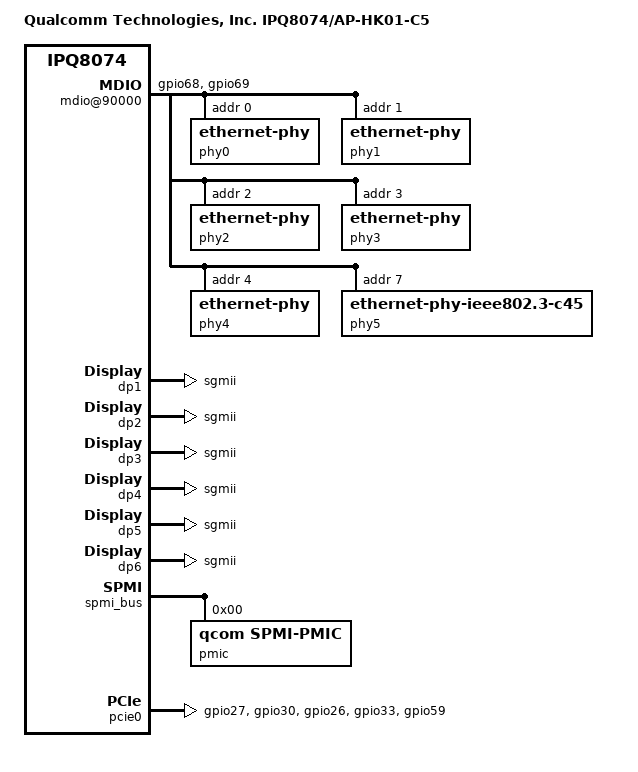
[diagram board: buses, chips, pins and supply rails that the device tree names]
// SPDX-License-Identifier: GPL-2.0-only
/dts-v1/;
/* Copyright (c) 2020 The Linux Foundation. All rights reserved.
 */
#include "ipq8074-hk01.dtsi"
#include <dt-bindings/pinctrl/qcom,pmic-gpio.h>

/ {
	model = "Qualcomm Technologies, Inc. IPQ8074/AP-HK01-C5";
	compatible = "qcom,ipq8074-ap-hk01-c5", "qcom,ipq8074-ap-hk01", "qcom,ipq8074";

	soc {

		pinctrl@1000000 {
			mdio_pins: mdio_pinmux {
				mux_0 {
					pins = "gpio68";
					function = "mdc";
					drive-strength = <8>;
					bias-pull-up;
				};
				mux_1 {
					pins = "gpio69";
					function = "mdio";
					drive-strength = <8>;
					bias-pull-up;
				};
			};

			pcie_sdx_pins: pcie_sdx_pinmux {
				ap2mdm_err_ftl {
					pins = "gpio27";
					function = "gpio";
					drive-strength = <8>;
					bias-pull-down;
				};

				sdx_pon_gpio {
					pins = "gpio30";
					function = "gpio";
					drive-strength = <8>;
					bias-pull-up;
					output-high;
				};

				ap2mdm_status {
					pins = "gpio26";
					function = "gpio";
					drive-strength = <8>;
					bias-pull-up;
					output-high;
				};

				mdm2ap_e911_status {
					pins = "gpio33";
					drive-strength = <8>;
					bias-pull-down;
				};
			};

			pcie_wake_pins: pcie0_wake_gpio {
				pins = "gpio59";
				function = "pcie0_wake";
				drive-strength = <8>;
				bias-pull-up;
			};
		};

		gpio_keys {
			status = "disabled";
		};

		i2c@78b6000 {
			 status = "disabled";
		};

		mdio@90000 {
			pinctrl-0 = <&mdio_pins>;
			pinctrl-names = "default";
			phy-reset-gpio = <&tlmm 37 0>;
			phy0: ethernet-phy@0 {
				reg = <0>;
			};
			phy1: ethernet-phy@1 {
				reg = <1>;
			};
			phy2: ethernet-phy@2 {
				reg = <2>;
			};
			phy3: ethernet-phy@3 {
				reg = <3>;
			};
			phy4: ethernet-phy@4 {
				reg = <4>;
			};
			phy5: ethernet-phy@5 {
				compatible ="ethernet-phy-ieee802.3-c45";
				reg = <7>;
			};
		};

		dp1 {
			device_type = "network";
			compatible = "qcom,nss-dp";
			qcom,id = <1>;
			reg = <0x3a001000 0x200>;
			qcom,mactype = <0>;
			local-mac-address = [000000000000];
			qcom,link-poll = <1>;
			qcom,phy-mdio-addr = <0>;
			phy-mode = "sgmii";
		};

		dp2 {
			device_type = "network";
			compatible = "qcom,nss-dp";
			qcom,id = <2>;
			reg = <0x3a001200 0x200>;
			qcom,mactype = <0>;
			local-mac-address = [000000000000];
			qcom,link-poll = <1>;
			qcom,phy-mdio-addr = <1>;
			phy-mode = "sgmii";
		};

		dp3 {
			device_type = "network";
			compatible = "qcom,nss-dp";
			qcom,id = <3>;
			reg = <0x3a001400 0x200>;
			qcom,mactype = <0>;
			local-mac-address = [000000000000];
			qcom,link-poll = <1>;
			qcom,phy-mdio-addr = <2>;
			phy-mode = "sgmii";
		};

		dp4 {
			device_type = "network";
			compatible = "qcom,nss-dp";
			qcom,id = <4>;
			reg = <0x3a001600 0x200>;
			qcom,mactype = <0>;
			local-mac-address = [000000000000];
			qcom,link-poll = <1>;
			qcom,phy-mdio-addr = <3>;
			phy-mode = "sgmii";
		};

		dp5 {
			device_type = "network";
			compatible = "qcom,nss-dp";
			qcom,id = <5>;
			reg = <0x3a001800 0x200>;
			qcom,mactype = <0>;
			local-mac-address = [000000000000];
			qcom,link-poll = <1>;
			qcom,phy-mdio-addr = <4>;
			phy-mode = "sgmii";
		};

		dp6 {
			device_type = "network";
			compatible = "qcom,nss-dp";
			qcom,id = <6>;
			reg = <0x3a007000 0x3fff>;
			qcom,mactype = <1>;
			local-mac-address = [000000000000];
			qcom,link-poll = <1>;
			qcom,phy-mdio-addr = <7>;
			phy-mode = "sgmii";
		};

		ess-switch@3a000000 {
			switch_cpu_bmp = <0x1>;  /* cpu port bitmap */
			switch_lan_bmp = <0x3e>; /* lan port bitmap */
			switch_wan_bmp = <0x40>; /* wan port bitmap */
			switch_mac_mode = <0x0>; /* mac mode for uniphy instance0*/
			switch_mac_mode1 = <0xff>; /* mac mode for uniphy instance1*/
			switch_mac_mode2 = <0xd>; /* mac mode for uniphy instance2*/
			bm_tick_mode = <0>; /* bm tick mode */
			tm_tick_mode = <0>; /* tm tick mode */
			port_scheduler_resource {
				port@0 {
					port_id = <0>;
					ucast_queue = <0 143>;
					mcast_queue = <256 271>;
					l0sp = <0 35>;
					l0cdrr = <0 47>;
					l0edrr = <0 47>;
					l1cdrr = <0 7>;
					l1edrr = <0 7>;
				};
				port@1 {
					port_id = <1>;
					ucast_queue = <144 159>;
					mcast_queue = <272 275>;
					l0sp = <36 39>;
					l0cdrr = <48 63>;
					l0edrr = <48 63>;
					l1cdrr = <8 11>;
					l1edrr = <8 11>;
				};
				port@2 {
					port_id = <2>;
					ucast_queue = <160 175>;
					mcast_queue = <276 279>;
					l0sp = <40 43>;
					l0cdrr = <64 79>;
					l0edrr = <64 79>;
					l1cdrr = <12 15>;
					l1edrr = <12 15>;
				};
				port@3 {
					port_id = <3>;
					ucast_queue = <176 191>;
					mcast_queue = <280 283>;
					l0sp = <44 47>;
					l0cdrr = <80 95>;
					l0edrr = <80 95>;
					l1cdrr = <16 19>;
					l1edrr = <16 19>;
				};
				port@4 {
					port_id = <4>;
					ucast_queue = <192 207>;
					mcast_queue = <284 287>;
					l0sp = <48 51>;
					l0cdrr = <96 111>;
					l0edrr = <96 111>;
					l1cdrr = <20 23>;
					l1edrr = <20 23>;
				};
				port@5 {
					port_id = <5>;
					ucast_queue = <208 223>;
					mcast_queue = <288 291>;
					l0sp = <52 55>;
					l0cdrr = <112 127>;
					l0edrr = <112 127>;
					l1cdrr = <24 27>;
					l1edrr = <24 27>;
				};
				port@6 {
					port_id = <6>;
					ucast_queue = <224 239>;
					mcast_queue = <292 295>;
					l0sp = <56 59>;
					l0cdrr = <128 143>;
					l0edrr = <128 143>;
					l1cdrr = <28 31>;
					l1edrr = <28 31>;
				};
				port@7 {
					port_id = <7>;
					ucast_queue = <240 255>;
					mcast_queue = <296 299>;
					l0sp = <60 63>;
					l0cdrr = <144 159>;
					l0edrr = <144 159>;
					l1cdrr = <32 35>;
					l1edrr = <32 35>;
				};
			};
			port_scheduler_config {
				port@0 {
					port_id = <0>;
					l1scheduler {
						group@0 {
							sp = <0 1>; /*L0 SPs*/
							/*cpri cdrr epri edrr*/
							cfg = <0 0 0 0>;
						};
					};
					l0scheduler {
						group@0 {
							/*unicast queues*/
							ucast_queue = <0 4 8>;
							/*multicast queues*/
							mcast_queue = <256 260>;
							/*sp cpri cdrr epri edrr*/
							cfg = <0 0 0 0 0>;
						};
						group@1 {
							ucast_queue = <1 5 9>;
							mcast_queue = <257 261>;
							cfg = <0 1 1 1 1>;
						};
						group@2 {
							ucast_queue = <2 6 10>;
							mcast_queue = <258 262>;
							cfg = <0 2 2 2 2>;
						};
						group@3 {
							ucast_queue = <3 7 11>;
							mcast_queue = <259 263>;
							cfg = <0 3 3 3 3>;
						};
					};
				};
				port@1 {
					port_id = <1>;
					l1scheduler {
						group@0 {
							sp = <36>;
							cfg = <0 8 0 8>;
						};
						group@1 {
							sp = <37>;
							cfg = <1 9 1 9>;
						};
					};
					l0scheduler {
						group@0 {
							ucast_queue = <144>;
							ucast_loop_pri = <16>;
							mcast_queue = <272>;
							mcast_loop_pri = <4>;
							cfg = <36 0 48 0 48>;
						};
					};
				};
				port@2 {
					port_id = <2>;
					l1scheduler {
						group@0 {
							sp = <40>;
							cfg = <0 12 0 12>;
						};
						group@1 {
							sp = <41>;
							cfg = <1 13 1 13>;
						};
					};
					l0scheduler {
						group@0 {
							ucast_queue = <160>;
							ucast_loop_pri = <16>;
							mcast_queue = <276>;
							mcast_loop_pri = <4>;
							cfg = <40 0 64 0 64>;
						};
					};
				};
				port@3 {
					port_id = <3>;
					l1scheduler {
						group@0 {
							sp = <44>;
							cfg = <0 16 0 16>;
						};
						group@1 {
							sp = <45>;
							cfg = <1 17 1 17>;
						};
					};
					l0scheduler {
						group@0 {
							ucast_queue = <176>;
							ucast_loop_pri = <16>;
							mcast_queue = <280>;
							mcast_loop_pri = <4>;
							cfg = <44 0 80 0 80>;
						};
					};
				};
				port@4 {
					port_id = <4>;
					l1scheduler {
						group@0 {
							sp = <48>;
							cfg = <0 20 0 20>;
						};
						group@1 {
							sp = <49>;
							cfg = <1 21 1 21>;
						};
					};
					l0scheduler {
						group@0 {
							ucast_queue = <192>;
							ucast_loop_pri = <16>;
							mcast_queue = <284>;
							mcast_loop_pri = <4>;
							cfg = <48 0 96 0 96>;
						};
					};
				};
				port@5 {
					port_id = <5>;
					l1scheduler {
						group@0 {
							sp = <52>;
							cfg = <0 24 0 24>;
						};
						group@1 {
							sp = <53>;
							cfg = <1 25 1 25>;
						};
					};
					l0scheduler {
						group@0 {
							ucast_queue = <208>;
							ucast_loop_pri = <16>;
							mcast_queue = <288>;
							mcast_loop_pri = <4>;
							cfg = <52 0 112 0 112>;
						};
					};
				};
				port@6 {
					port_id = <6>;
					l1scheduler {
						group@0 {
							sp = <56>;
							cfg = <0 28 0 28>;
						};
						group@1 {
							sp = <57>;
							cfg = <1 29 1 29>;
						};
					};
					l0scheduler {
						group@0 {
							ucast_queue = <224>;
							ucast_loop_pri = <16>;
							mcast_queue = <292>;
							mcast_loop_pri = <4>;
							cfg = <56 0 128 0 128>;
						};
					};
				};
				port@7 {
					port_id = <7>;
					l1scheduler {
						group@0 {
							sp = <60>;
							cfg = <0 32 0 32>;
						};
						group@1 {
							sp = <61>;
							cfg = <1 33 1 33>;
						};
					};
					l0scheduler {
						group@0 {
							ucast_queue = <240>;
							ucast_loop_pri = <16>;
							mcast_queue = <296>;
							cfg = <60 0 144 0 144>;
						};
					};
				};
			};
		};
	};

};

&spmi_bus {
	pmic@0 {
		compatible ="qcom,spmi-pmic";
		reg = <0x0 SPMI_USID>;
		#address-cells = <1>;
		#size-cells = <0>;

		pm8074_gpios: gpios@c000 {
			compatible = "qcom,pm8074-gpio";
			reg = <0xc000>;
			gpio-controller;
			gpio-ranges = <&pm8074_gpios 0 0 12>;
			#gpio-cells = <2>;
			interrupts = <0 0xc0 0 IRQ_TYPE_NONE>,
				     <0 0xc1 0 IRQ_TYPE_NONE>,
				     <0 0xc2 0 IRQ_TYPE_NONE>,
				     <0 0xc3 0 IRQ_TYPE_NONE>,
				     <0 0xc4 0 IRQ_TYPE_NONE>,
				     <0 0xc5 0 IRQ_TYPE_NONE>,
				     <0 0xc6 0 IRQ_TYPE_NONE>,
				     <0 0xc7 0 IRQ_TYPE_NONE>,
				     <0 0xc8 0 IRQ_TYPE_NONE>,
				     <0 0xc9 0 IRQ_TYPE_NONE>,
				     <0 0xca 0 IRQ_TYPE_NONE>,
				     <0 0xcb 0 IRQ_TYPE_NONE>;
			pinctrl-0 = <&pm8074_gpio>;
			pinctrl-names = "default";

			pm8074_gpio: pmm8074_gpio {
				pinconf {
					pins = "gpio6";
					function = PMIC_GPIO_FUNC_NORMAL;
					bias-pull-up;
					output-high;
				};
			};
		};
	};
};

&pcie0 {
	pinctrl-0 = <&pcie_sdx_pins>, <&pcie_wake_pins>;
	pinctrl-names = "default";
	e911-gpio =  <&tlmm 33 GPIO_ACTIVE_HIGH>;

	interrupts-extended = <&tlmm 59 IRQ_TYPE_LEVEL_HIGH>,
			      <&tlmm 33 IRQ_TYPE_LEVEL_HIGH>;
	interrupt-names = "wake_gpio", "mdm2ap_e911";

	link_retries_count = <100>;

	status = "ok";

	pcie0_rp: pcie0_rp {
		reg = <0 0 0 0 0>;
	};
};

&pcie0_rp {
	#address-cells = <5>;
	#size-cells = <0>;

	status = "ok";
	aliases {
		mhi_netdev2 = &mhi_netdev_2;
	};
	mhi_0: qcom,mhi@0 {
		reg = <0 0 0 0 0 >;

		ap2mdm-gpio = <&tlmm 26 0>;
		mdm2ap-gpio = <&tlmm 25 0>;

		// controller specific configuration
		qcom,iommu-dma = "disabled";

		// mhi bus specific settings
		mhi,ssr-negotiate;

		mhi_devices: mhi_devices {
			#address-cells = <1>;
			#size-cells = <0>;

			mhi_netdev_0: mhi_rmnet@0 {
				reg = <0x0>;
				mhi,chan = "IP_HW0";
				mhi,interface-name = "rmnet_mhi";
				mhi,mru = <0x4000>;
				mhi,chain-skb;
			};

			mhi_rmnet@1 {
				reg = <0x1>;
				mhi,chan = "IP_HW0_RSC";
				mhi,mru = <0x8000>;
				mhi,rsc-parent = <&mhi_netdev_0>;
			};

			mhi_netdev_2: mhi_rmnet@2 {
				reg = <0x2>;
				mhi,chan = "IP_SW0";
				mhi,interface-name = "rmnet_mhi_sw";
				mhi,mru = <0x4000>;
				mhi,disable-chain-skb;
			};

			mhi_qrtr {
				mhi,chan = "IPCR";
				qom,net-id = <3>;
			};
		};

	};
};
